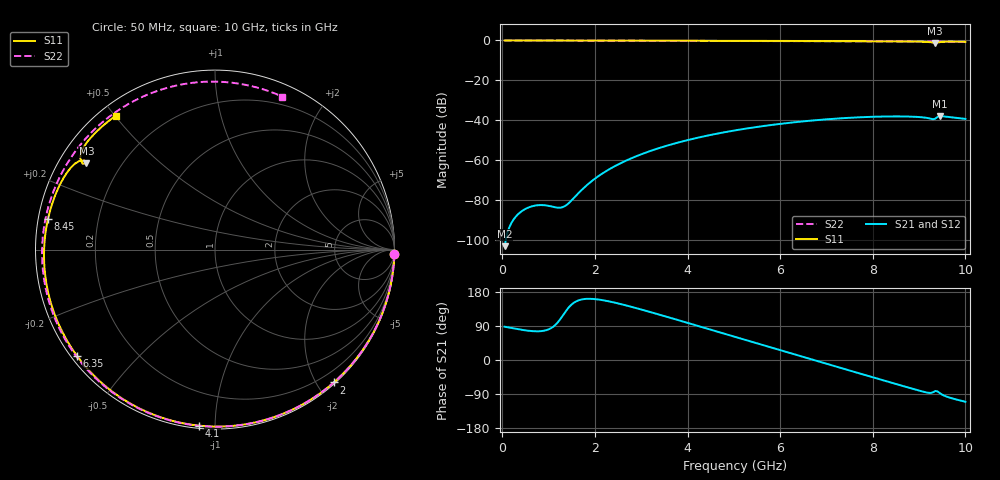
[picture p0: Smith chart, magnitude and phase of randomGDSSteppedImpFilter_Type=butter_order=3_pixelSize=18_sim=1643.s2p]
! freq	dB(S11)	phase(S11)	dB(S12)	phase(S12)
!  dB(S21)	phase(S21)	dB(S22)	phase(S22)
!S-par simulation data
#  GHz  S  DB  R 50
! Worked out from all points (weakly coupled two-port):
!   200 points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, 50 MHz to 10 GHz, reference 50 ohm
!   highest |S21| = -37.88 dB at 9.45 GHz (marker M1); lowest = -102.9 dB at 50 MHz (marker M2)
!   lowest |S11| = -1.3 dB at 9.35 GHz (marker M3), VSWR 13.49, Z = 4.05 + j15.1 ohm
!   |S11| at or under -10 dB: nowhere
!   |S22| runs from -0.6 to 0.0 dB; largest |S21 - S12| = 0
!   S11 on the Smith chart (normalised r, x): 50 MHz: 1, -91; 2 GHz: 0.02, -2.24; 4.1 GHz: 0.01, -0.91; 6.35 GHz: 0.02, -0.34; 8.45 GHz: 0.03, +0.09; 10 GHz: 0.05, +0.50
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0.05  -0.00 -1.3  -102.88 87.8  -102.88 87.8  -0.00 -1.5
0.75  -0.02 -18.4  -82.44 75.7  -82.44 75.7  -0.03 -22.3
1.5  -0.05 -36.4  -79.89 146.8  -79.89 146.8  -0.06 -44.2
1.75  -0.05 -42.3  -73.96 160.5  -73.96 160.5  -0.07 -51.4
2  -0.06 -48.2  -69.11 160.7  -69.11 160.7  -0.07 -58.5
2.3  -0.07 -55.2  -64.55 154.8  -64.55 154.8  -0.09 -66.9
2.6  -0.08 -62.0  -60.88 146.3  -60.88 146.3  -0.10 -75.2
3.4  -0.10 -79.9  -53.71 119.4  -53.71 119.4  -0.13 -96.7
4.1  -0.13 -95.1  -49.28 94.4  -49.28 94.4  -0.16 -115.1
5.05  -0.18 -115.2  -44.88 60.2  -44.88 60.2  -0.21 -139.8
5.7  -0.21 -128.8  -42.60 36.8  -42.60 36.8  -0.26 -156.9
6.35  -0.26 -142.4  -40.81 13.5  -40.81 13.5  -0.31 -174.5
6.7  -0.29 -149.9  -40.02 0.9  -40.02 0.9  -0.34 175.8
7.5  -0.37 -167.6  -38.67 -27.8  -38.67 -27.8  -0.41 152.3
8.35  -0.47 172.1  -38.00 -58.1  -38.00 -58.1  -0.49 125.3
8.45  -0.48 169.6  -37.98 -61.6  -37.98 -61.6  -0.50 121.9
8.9  -0.57 157.6  -38.16 -77.3  -38.16 -77.3  -0.54 106.4
9.2  -0.77 148.5  -38.87 -86.6  -38.87 -86.6  -0.56 95.8
9.35  -1.29 146.2  -39.10 -81.7  -39.10 -81.7  -0.57 90.3
9.45  -0.83 145.8  -37.88 -87.7  -37.88 -87.7  -0.58 86.7
9.65  -0.62 138.2  -38.29 -98.9  -38.29 -98.9  -0.60 79.3
10  -0.65 126.5  -39.24 -110.2  -39.24 -110.2  -0.62 66.3
